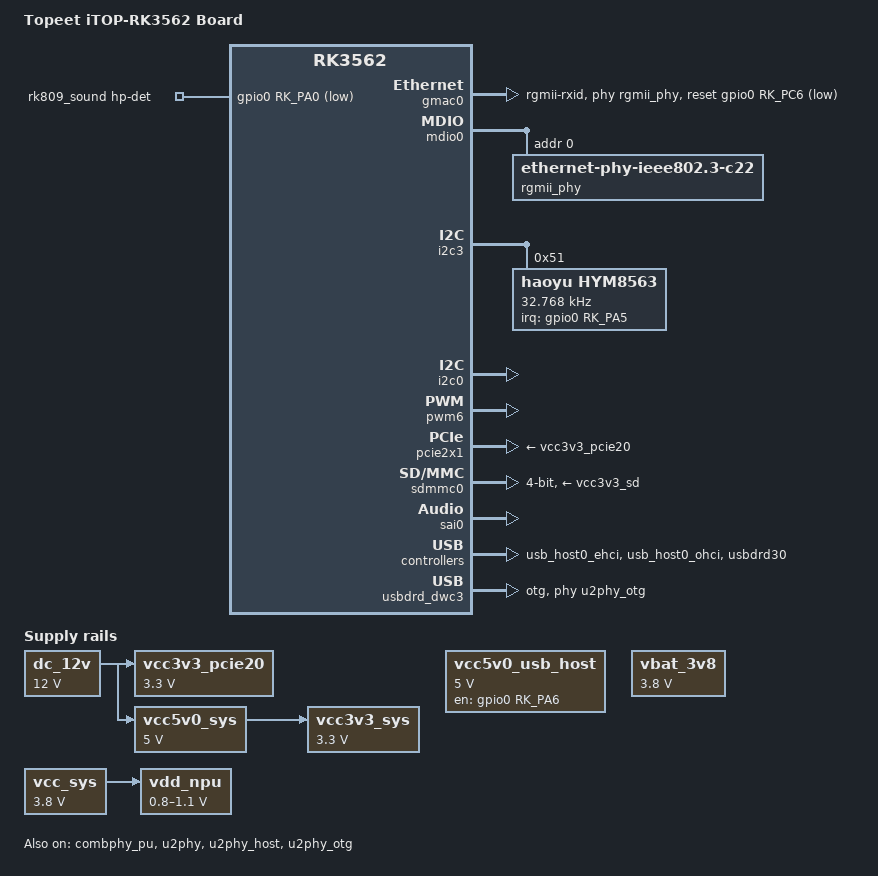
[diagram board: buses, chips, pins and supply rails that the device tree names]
// SPDX-License-Identifier: (GPL-2.0+ OR MIT)
/*
 * Copyright (c) 2022 Rockchip Electronics Co., Ltd.
 *
 */

/dts-v1/;

#include "dt-bindings/usb/pd.h"
#include "rk3562.dtsi"
#include "topeet-rk3562-linux.dtsi"
#include "rk3562-rk809.dtsi"
#include "topeet-rk3562-evb.dtsi"
#include "topeet-camera-config.dtsi"
#include <dt-bindings/gpio/gpio.h>
#include <dt-bindings/pinctrl/rockchip.h>
#include <dt-bindings/sensor-dev.h>



/ {
	model = "Topeet iTOP-RK3562 Board";
	compatible = "topeet,itop-rk3562", "topeet,rk3562-evb", "rockchip,rk3562";

	dc_12v: dc-12v {
		compatible = "regulator-fixed";
		regulator-name = "dc_12v";
		regulator-always-on;
		regulator-boot-on;
		regulator-min-microvolt = <12000000>;
		regulator-max-microvolt = <12000000>;
	};
	//声卡
	rk809_sound: rk809-sound {
		status = "okay";
		compatible = "rockchip,multicodecs-card";
		rockchip,card-name = "rockchip-rk809";
		hp-det-gpio = <&gpio0 RK_PA0 GPIO_ACTIVE_LOW>;
		rockchip,format = "i2s";
		rockchip,mclk-fs = <256>;
		rockchip,cpu = <&sai0>;
		rockchip,codec = <&rk809_codec>;
		pinctrl-names = "default";
		pinctrl-0 = <&hp_det>;
	};



	vcc3v3_pcie20: vcc3v3-pcie20 {
		compatible = "regulator-fixed";
		regulator-name = "vcc3v3_pcie20";
		regulator-min-microvolt = <3300000>;
		regulator-max-microvolt = <3300000>;
		enable-active-high;
		//gpios = <&gpio0 RK_PB7 GPIO_ACTIVE_HIGH>;
		startup-delay-us = <5000>;
		vin-supply = <&dc_12v>;
	};

	vcc5v0_sys: vcc5v0-sys {
		compatible = "regulator-fixed";
		regulator-name = "vcc5v0_sys";
		regulator-always-on;
		regulator-boot-on;
		regulator-min-microvolt = <5000000>;
		regulator-max-microvolt = <5000000>;
		vin-supply = <&dc_12v>;
	};

	vcc3v3_sys: vcc3v3-sys {
		compatible = "regulator-fixed";
		regulator-name = "vcc3v3_sys";
		regulator-always-on;
		regulator-boot-on;
		regulator-min-microvolt = <3300000>;
		regulator-max-microvolt = <3300000>;
		vin-supply = <&vcc5v0_sys>;
	};

	//usb host供电
	vcc5v0_usb_host: vcc5v0-usb-host {
		compatible = "regulator-fixed";
		regulator-name = "vcc5v0_usb_host";
		regulator-boot-on;
		regulator-always-on;
		regulator-min-microvolt = <5000000>;
		regulator-max-microvolt = <5000000>;
		enable-active-high;
		gpio = <&gpio0 RK_PA6 GPIO_ACTIVE_HIGH>;
		//vin-supply = <&dcdc_boost>;
		//pinctrl-names = "default";
		//pinctrl-0 = <&usb_host_pwren>;
	};

	vbat_3v8: vbat-3v8 {
		compatible = "regulator-fixed";
		regulator-name = "vbat_3v8";
		regulator-always-on;
		regulator-boot-on;
		regulator-min-microvolt = <3800000>;
		regulator-max-microvolt = <3800000>;
	};
/*
	vcc_sd: vcc-sd {
		compatible = "regulator-gpio";
		enable-active-low;
		regulator-boot-on;
		gpios = <&gpio0 RK_PA5 GPIO_ACTIVE_LOW>;
		regulator-min-microvolt = <3300000>;
		regulator-max-microvolt = <3300000>;
		pinctrl-names = "default";
		pinctrl-0 = <&vcc_sd_h>;
		regulator-name = "vcc_sd";
		states = <0 0x0
			  3300000 0x1>;
	};
*/
	vcc_sys: vcc-sys {
		compatible = "regulator-fixed";
		regulator-name = "vcc_sys";
		regulator-always-on;
		regulator-boot-on;
		regulator-min-microvolt = <3800000>;
		regulator-max-microvolt = <3800000>;
	};
/*
	vdd_gpu: vdd-gpu {
		compatible = "pwm-regulator";
		pwms = <&pwm7 0 5000 1>;
		regulator-name = "vdd_gpu";
		regulator-min-microvolt = <800000>;
		regulator-max-microvolt = <1100000>;
		regulator-init-microvolt = <900000>;
		regulator-always-on;
		regulator-boot-on;
		regulator-settling-time-up-us = <250>;
		pwm-supply = <&vcc_sys>;
		status = "okay";
	};
*/
	vdd_npu: vdd-npu {
		compatible = "pwm-regulator";
		pwms = <&pwm6 0 5000 1>;
		regulator-name = "vdd_npu";
		regulator-min-microvolt = <800000>;
		regulator-max-microvolt = <1100000>;
		regulator-init-microvolt = <900000>;
		regulator-always-on;
		regulator-boot-on;
		regulator-settling-time-up-us = <250>;
		pwm-supply = <&vcc_sys>;
		status = "okay";
	};


};
//网口
/******************************START***********************************/
&gmac0 {
	/* Use rgmii-rxid mode to disable rx delay inside Soc */
	phy-mode = "rgmii-rxid";
	clock_in_out = "output";

	snps,reset-gpio = <&gpio0 RK_PC6 GPIO_ACTIVE_LOW>;
	snps,reset-active-low;
	/* Reset time is 20ms, 100ms for rtl8211f */
	snps,reset-delays-us = <0 20000 100000>;

	tx_delay = <0x38>;
	/* rx_delay = <0x3f>; */

	pinctrl-names = "default";
    pinctrl-0 = <&rgmiim1_miim
                 &rgmiim1_tx_bus2
                 &rgmiim1_rx_bus2
                 &rgmiim1_rgmii_clk
                 &rgmiim1_rgmii_bus
                 &ethm1_pins
                 &rgmiim1_clk>;

	phy-handle = <&rgmii_phy>;
	status = "okay";
};
&mdio0 {

	rgmii_phy: phy@0 {
		compatible = "ethernet-phy-ieee802.3-c22";
		reg = <0x0>;
		clocks = <&cru CLK_GMAC_ETH_OUT2IO>;
		assigned-clocks = <&cru CLK_GMAC_ETH_OUT2IO>;
		assigned-clock-rates = <25000000>;
	};
};
/******************************END***********************************/




//RTC时钟模块
/******************************START***********************************/
&i2c3 {
        status = "okay";
        pinctrl-names = "default";
        pinctrl-0 = <&i2c3m0_xfer>;
        hym8563: hym8563@51 {
                compatible = "haoyu,hym8563";
                reg = <0x51>;
                #clock-cells = <0>;
                clock-frequency = <32768>;
                clock-output-names = "hym8563";
                pinctrl-names = "default";
                pinctrl-0 = <&hym8563_int>;
                interrupt-parent = <&gpio0>;
                interrupts = <RK_PA5 IRQ_TYPE_LEVEL_LOW>;
                wakeup-source;
                status = "okay";
        };
};
/******************************END***********************************/



//pmic使用，不能删除
&i2c0 {
	status = "okay";
};



//pwm3 pwn6 未使用，其中pwm3默认配置为ir功能
/******************************START***********************************/
&pwm3 {
	status = "disabled";

	compatible = "rockchip,remotectl-pwm";
	pinctrl-names = "default";
	pinctrl-0 = <&pwm3m0_pins>;
	assigned-clocks = <&cru CLK_PMU1_PWM0>;
	assigned-clock-rates = <24000000>;
	remote_pwm_id = <3>;
	handle_cpu_id = <1>;
	remote_support_psci = <1>;

	ir_key1 {
		rockchip,usercode = <0x4040>;
		rockchip,key_table =
			<0xf2	KEY_REPLY>,
			<0xba	KEY_BACK>,
			<0xf4	KEY_UP>,
			<0xf1	KEY_DOWN>,
			<0xef	KEY_LEFT>,
			<0xee	KEY_RIGHT>,
			<0xbd	KEY_HOME>,
			<0xea	KEY_VOLUMEUP>,
			<0xe3	KEY_VOLUMEDOWN>,
			<0xe2	KEY_SEARCH>,
			<0xb2	KEY_POWER>,
			<0xbc	KEY_MUTE>,
			<0xec	KEY_MENU>,
			<0xbf	0x190>,
			<0xe0	0x191>,
			<0xe1	0x192>,
			<0xe9	183>,
			<0xe6	248>,
			<0xe8	185>,
			<0xe7	186>,
			<0xf0	388>,
			<0xbe	0x175>;
	};

	ir_key2 {
		rockchip,usercode = <0xff00>;
		rockchip,key_table =
			<0xf9	KEY_HOME>,
			<0xbf	KEY_BACK>,
			<0xfb	KEY_MENU>,
			<0xaa	KEY_REPLY>,
			<0xb9	KEY_UP>,
			<0xe9	KEY_DOWN>,
			<0xb8	KEY_LEFT>,
			<0xea	KEY_RIGHT>,
			<0xeb	KEY_VOLUMEDOWN>,
			<0xef	KEY_VOLUMEUP>,
			<0xf7	KEY_MUTE>,
			<0xe7	KEY_POWER>,
			<0xfc	KEY_POWER>,
			<0xa9	KEY_VOLUMEDOWN>,
			<0xa8	KEY_VOLUMEDOWN>,
			<0xe0	KEY_VOLUMEDOWN>,
			<0xa5	KEY_VOLUMEDOWN>,
			<0xab	183>,
			<0xb7	388>,
			<0xe8	388>,
			<0xf8	184>,
			<0xaf	185>,
			<0xed	KEY_VOLUMEDOWN>,
			<0xee	186>,
			<0xb3	KEY_VOLUMEDOWN>,
			<0xf1	KEY_VOLUMEDOWN>,
			<0xf2	KEY_VOLUMEDOWN>,
			<0xf3	KEY_SEARCH>,
			<0xb4	KEY_VOLUMEDOWN>,
			<0xbe	KEY_SEARCH>;
	};

	ir_key3 {
		rockchip,usercode = <0x1dcc>;
		rockchip,key_table =
			<0xee	KEY_REPLY>,
			<0xf0	KEY_BACK>,
			<0xf8	KEY_UP>,
			<0xbb	KEY_DOWN>,
			<0xef	KEY_LEFT>,
			<0xed	KEY_RIGHT>,
			<0xfc	KEY_HOME>,
			<0xf1	KEY_VOLUMEUP>,
			<0xfd	KEY_VOLUMEDOWN>,
			<0xb7	KEY_SEARCH>,
			<0xff	KEY_POWER>,
			<0xf3	KEY_MUTE>,
			<0xbf	KEY_MENU>,
			<0xf9	0x191>,
			<0xf5	0x192>,
			<0xb3	388>,
			<0xbe	KEY_1>,
			<0xba	KEY_2>,
			<0xb2	KEY_3>,
			<0xbd	KEY_4>,
			<0xf9	KEY_5>,
			<0xb1	KEY_6>,
			<0xfc	KEY_7>,
			<0xf8	KEY_8>,
			<0xb0	KEY_9>,
			<0xb6	KEY_0>,
			<0xb5	KEY_BACKSPACE>;
	};
};


/**************************pwm3 pwm6 END******************************/

//NPU使用
&pwm6 {
	status = "okay";
};


//pcie2x1 复位引脚
&pcie2x1 {
	//reset-gpios = <&gpio3 RK_PB0 GPIO_ACTIVE_HIGH>;
	vpcie3v3-supply = <&vcc3v3_pcie20>;
	status = "okay";
};


//pinctrl配置
&pinctrl {
	//hym8563中断引脚
	hym8563 {
        hym8563_int: hym8563-int {
            rockchip,pins = <0 RK_PA5 RK_FUNC_GPIO &pcfg_pull_up>;
        };
    };
	//headphone插拔检测引脚
	headphone {
		hp_det: hp-det {
			rockchip,pins = <0 RK_PA0 RK_FUNC_GPIO &pcfg_pull_none>;
		};
	};
/*
	lcd {
		lcd_rst_gpio: lcd-rst-gpio {
			rockchip,pins = <0 RK_PC4 RK_FUNC_GPIO &pcfg_pull_none>;
		};
	};
	usb {
		usb_host_pwren: usb-host-pwren {
			rockchip,pins = <4 RK_PB0 RK_FUNC_GPIO &pcfg_pull_none>;
		};

		usbc0_int: usbc0-int {
			rockchip,pins = <1 RK_PC7 RK_FUNC_GPIO &pcfg_pull_up>;
		};
	};
*/
};


//sdmmc0配置和使能 —— 底板 TF 卡槽(J10)接 sdmmc0(ff880000)，SD 卡模式
//原理图: topeet_rk3562_main_v1_1.pdf 第11页 10.SD（MicroSD 卡直接挂 SDMMC0 总线）
//供电: VCC3V3_SD = RK809 SWITCH_REG2(vcc3v3_sd, always-on)；信号电平 vccio_sd = RK809 LDO_REG5
//原配置(no-sd/no-mmc/cap-sdio-irq/non-removable)为 EXIO 扩展口 SDIO 预留，导致板上 TF 卡无法识别
/******************************START***********************************/
&sdmmc0 {
	bus-width = <4>;
	disable-wp;
	cap-sd-highspeed;
	cap-mmc-highspeed;
	sd-uhs-sdr104;
	keep-power-in-suspend;
	pinctrl-names = "default";
	pinctrl-0 = <&sdmmc0_bus4 &sdmmc0_clk &sdmmc0_cmd &sdmmc0_det>;
	vmmc-supply = <&vcc3v3_sd>;
	vqmmc-supply = <&vccio_sd>;
	status = "okay";
};
/***************************sdmmc0 END*********************************/



//I2S接口 rk809_codec 使用
/******************************START***********************************/
&sai0 {
	status = "okay";
	pinctrl-names = "default";
	pinctrl-0 = <&i2s0m0_lrck
		     &i2s0m0_sclk
		     &i2s0m0_sdi0
		     &i2s0m0_sdo0>;
};
/***************************I2S接口 END*********************************/






//USB2.0控制器和phy使能
/******************************START***********************************/
&combphy_pu {
	status = "okay";
};

&u2phy {
	status = "okay";
};

&u2phy_host {
	status = "okay";
	phy-supply = <&vcc5v0_usb_host>;  //供电
};

&u2phy_otg {
	status = "okay";
};


&usb_host0_ehci {
	status = "okay";
};

&usb_host0_ohci {
	status = "okay";
};

/********************USB2.0控制器和phy使能 END**************************/


//usb3.0 otg使能
/******************************START***********************************/
//使能父节点
&usbdrd30 {
	status = "okay";
};

//使能子节点
&usbdrd_dwc3 {
	status = "okay";

	dr_mode = "otg";				//注意如配置usb-role-switch则必须配置dr_mode且属性值必须为otg，
	maximum-speed = "high-speed";	//配置dwc3控制器最⾼⽀持high speed
	phys = <&u2phy_otg>;  			//配置phys属性只引⽤ usb 2.0 phy节点
	phy-names = "usb2-phy";
	extcon = <&u2phy>;              //如果不设置extcon不能进行模式切换，只能是host或者device
	snps,dis_u2_susphy_quirk;       //配置dwc3控制器不⽀持⾃动suspend usb2 phy
	snps,usb2-lpm-disable;          //配置dwc3 host mode不⽀持LPM功能
	//usb-role-switch;              //⽤于使能DWC3驱动注册USB Role Switch回调函数
};

/**********************usb3.0 otg使能 END********************************/
